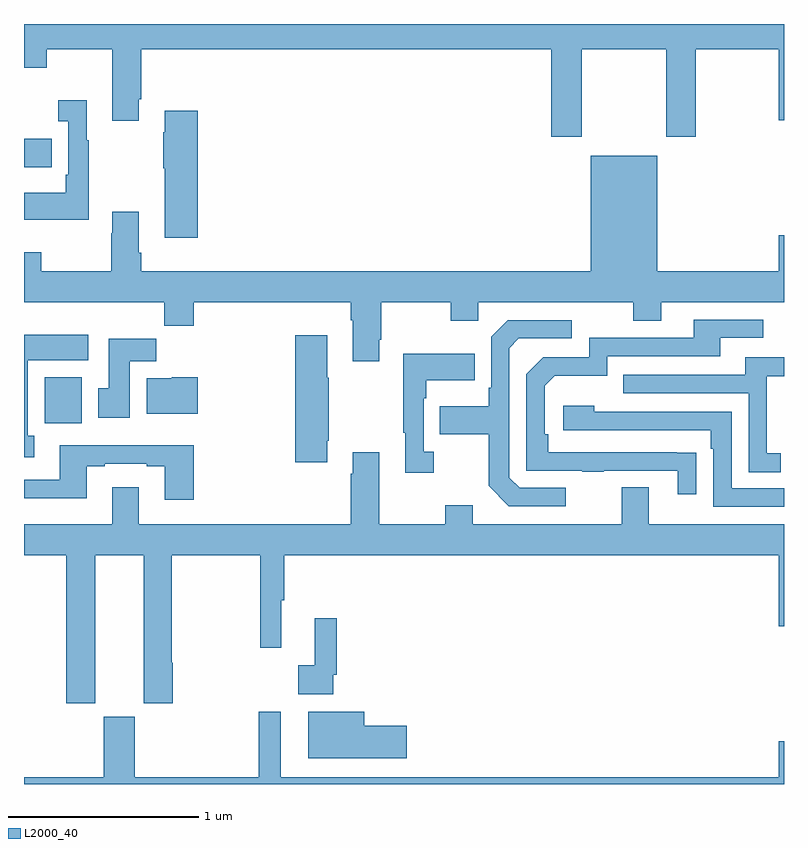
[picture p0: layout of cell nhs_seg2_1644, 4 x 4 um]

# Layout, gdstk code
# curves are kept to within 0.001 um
import gdstk
lib = gdstk.Library(unit=1e-6, precision=1e-09)
def R(c, l, rs):  # rectangles x0, y0, x1, y1
    for r in rs: c.add(gdstk.rectangle(r[:2], r[2:], *l))
def P(c, l, *ps):  # polygons
    for p in ps: c.add(gdstk.Polygon(p, *l))
L2000_40 = (2000, 40)

nhs_seg2_1644 = lib.new_cell('nhs_seg2_1644')
R(nhs_seg2_1644, L2000_40, [(197.108,613.7,197.305,613.942), (197,615.047,197.147,615.195)])
P(nhs_seg2_1644, L2000_40, [(199.935,615.668),(200.38,615.668),(200.38,615.207),(200.535,615.207),(200.535,615.668),(200.972,615.668),(200.972,615.294),(201,615.294),(201,615.8),(197,615.8),(197,615.569),(197.121,615.569),(197.121,615.668),(197.465,615.668),(197.465,615.291),(197.605,615.291),(197.605,615.403),(197.618,615.403),(197.618,615.668),(199.775,615.668),(199.775,615.207),(199.935,615.207)],
  [(197.341,615.187),(197.329,615.187),(197.329,615.4),(197.181,615.4),(197.181,615.287),(197.232,615.287),(197.232,615.007),(197.22,615.007),(197.22,614.911),(197,614.911),(197,614.771),(197.341,614.771)],
  [(197.914,615.343),(197.741,615.343),(197.741,615.23),(197.734,615.23),(197.734,615.041),(197.741,615.041),(197.741,614.676),(197.914,614.676)],
  [(198.871,614.137),(198.879,614.137),(198.879,614.336),(199.246,614.336),(199.246,614.237),(199.392,614.237),(199.392,614.336),(200.206,614.336),(200.206,614.237),(200.353,614.237),(200.353,614.336),(201,614.336),(201,614.689),(200.972,614.689),(200.972,614.5),(200.332,614.5),(200.332,615.106),(199.982,615.106),(199.982,614.5),(197.618,614.5),(197.618,614.596),(197.605,614.596),(197.605,614.812),(197.465,614.812),(197.465,614.699),(197.458,614.699),(197.458,614.5),(197.091,614.5),(197.091,614.599),(197,614.599),(197,614.336),(197.737,614.336),(197.737,614.212),(197.894,614.212),(197.894,614.336),(198.719,614.336),(198.719,614.24),(198.731,614.24),(198.731,614.025),(198.871,614.025)],
  [(200.537,613.544),(199.76,613.545),(199.76,613.642),(199.74,613.642),(199.74,613.896),(199.793,613.949),(200.07,613.949),(200.07,614.052),(200.665,614.052),(200.665,614.148),(200.89,614.148),(200.89,614.244),(200.525,614.244),(200.525,614.148),(199.974,614.148),(199.974,614.046),(199.734,614.046),(199.644,613.956),(199.644,613.449),(199.939,613.449),(199.939,613.444),(200.051,613.444),(200.051,613.449),(200.441,613.449),(200.441,613.326),(200.537,613.326)],
  [(199.852,613.359),(199.608,613.359),(199.554,613.413),(199.554,614.094),(199.605,614.145),(199.882,614.145),(199.882,614.241),(199.545,614.241),(199.458,614.154),(199.458,613.885),(199.446,613.885),(199.446,613.789),(199.189,613.789),(199.189,613.642),(199.446,613.642),(199.446,613.369),(199.551,613.263),(199.852,613.263)],
  [(197.053,613.634),(197.02,613.634),(197.02,614.03),(197.338,614.03),(197.338,614.164),(197,614.164),(197,613.521),(197.053,613.521)],
  [(198.595,613.606),(198.603,613.606),(198.603,613.937),(198.595,613.937),(198.595,614.161),(198.428,614.161),(198.428,613.494),(198.595,613.494)],
  [(197.557,614.024),(197.696,614.024),(197.696,614.143),(197.447,614.143),(197.447,613.884),(197.39,613.884),(197.39,613.728),(197.557,613.728)],
  [(199.156,613.55),(199.104,613.55),(199.104,613.829),(199.117,613.829),(199.117,613.925),(199.373,613.925),(199.373,614.065),(198.996,614.065),(198.996,613.649),(199.007,613.649),(199.007,613.437),(199.156,613.437)],
  [(200.983,613.542),(200.91,613.542),(200.91,613.947),(201,613.947),(201,614.047),(200.795,614.047),(200.795,613.953),(200.155,613.953),(200.155,613.857),(200.814,613.857),(200.814,613.441),(200.983,613.441)],
  [(197.914,613.942),(197.778,613.942),(197.778,613.936),(197.645,613.936),(197.645,613.748),(197.914,613.748)],
  [(201,613.356),(200.724,613.356),(200.724,613.758),(200,613.758),(200,613.792),(199.839,613.792),(199.839,613.662),(200.615,613.662),(200.615,613.565),(200.628,613.565),(200.628,613.26),(201,613.26)],
  [(197.894,613.582),(197.189,613.582),(197.189,613.401),(197,613.401),(197,613.304),(197.329,613.304),(197.329,613.473),(197.425,613.473),(197.425,613.485),(197.645,613.485),(197.645,613.473),(197.741,613.473),(197.741,613.296),(197.894,613.296)],
  [(198.627,612.376),(198.647,612.376),(198.647,612.673),(198.53,612.673),(198.53,612.425),(198.444,612.425),(198.444,612.272),(198.627,612.272)],
  [(198.243,613.004),(198.243,612.516),(198.353,612.516),(198.353,612.768),(198.371,612.768),(198.371,613.004),(200.972,613.004),(200.972,612.63),(201,612.63),(201,613.168),(200.287,613.168),(200.287,613.363),(200.147,613.363),(200.147,613.168),(199.363,613.168),(199.363,613.267),(199.216,613.267),(199.216,613.168),(198.871,613.168),(198.871,613.546),(198.731,613.546),(198.731,613.433),(198.719,613.433),(198.719,613.168),(197.605,613.168),(197.605,613.363),(197.465,613.363),(197.465,613.168),(197,613.168),(197,613.004),(197.222,613.004),(197.222,612.225),(197.374,612.225),(197.374,613.004),(197.63,613.004),(197.63,612.225),(197.783,612.225),(197.783,612.437),(197.778,612.437),(197.778,613.004)],
  [(201,612.025),(200.972,612.025),(200.972,611.836),(198.352,611.836),(198.352,612.181),(198.235,612.181),(198.235,611.836),(197.584,611.836),(197.584,612.153),(197.42,612.153),(197.42,611.836),(197,611.836),(197,611.8),(201,611.8)],
  [(199.015,612.107),(198.79,612.107),(198.79,612.181),(198.497,612.181),(198.497,611.936),(199.015,611.936)])

lib.write_gds('nhs_seg2_1644.gds')
